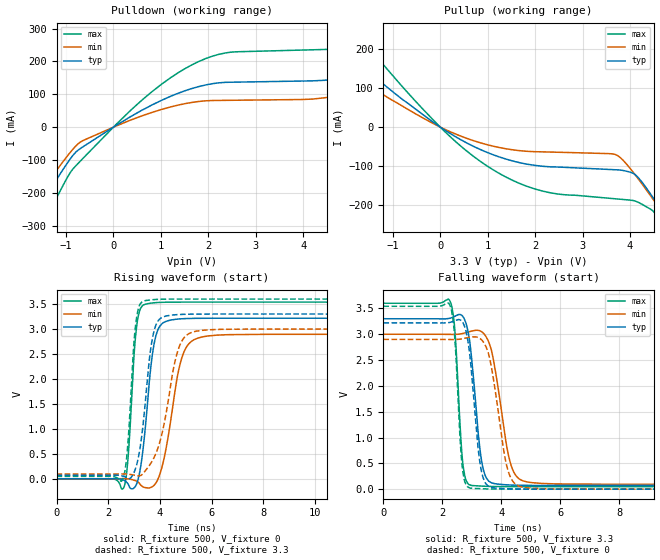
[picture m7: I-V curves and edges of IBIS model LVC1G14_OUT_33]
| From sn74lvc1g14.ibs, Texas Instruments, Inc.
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[Model]   LVC1G14_OUT_33
Model_type  Output
Vref =   0
Rref =   500
Cref =   50p
Vmeas =   1.5
| variable   typ   min   max
C_comp   9.52pF   5.86pF   13.14pF
| C_pullup   9.85pF   5.86pF   11.96pF
| C_pulldown   9.19pF   6.46pF   13.14pF
[Temperature Range]   40   100   -40
| Ambient temperature   25   85   -40
[Voltage range]   3.3   3   3.6
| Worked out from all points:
|   slope of the pulldown table from 0 to 0.495 V, typ, clamps not added: 11.5 ohm
|   slope of the pullup table from 0 to 0.495 V, typ, clamps not added: 13.6 ohm
|   rising waveform, R_fixture 500, V_fixture 0: 20-80 % time 374ps typ, 562ps min, 247ps max; typ from 0 V to 3.22 V
|   falling waveform, R_fixture 500, V_fixture 3.3: 20-80 % time 318ps typ, 477ps min, 206ps max; typ from 3.3 V to 0.07 V
|   rising waveform, R_fixture 500, V_fixture 3.3: 20-80 % time 399ps typ, 654ps min, 255ps max; typ from 0.07 V to 3.3 V
|   falling waveform, R_fixture 500, V_fixture 0: 20-80 % time 309ps typ, 458ps min, 200ps max; typ from 3.22 V to 0 V
[Pulldown]
| LVC1G14_OUT_33
|   Voltage   I(typ)   I(min)   I(max)
-5.5V     -1.107A    -970.8mA   -1.353A
-2.055V   -353.2mA   -300.4mA   -454.5mA
-1.49V    -224.6mA   -188.2mA   -296.4mA
-740mV    -69.5mA    -50.1mA    -109.7mA
365mV     32.28mA    21.63mA    51.56mA
2.22V     134.9mA    81.36mA    221.6mA
4.92V     153.7mA    101.9mA    243.5mA
6.98V     278.6mA    201.4mA    397.7mA
7.35V     308.4mA    129.2mA    438.3mA
7.84V     330.1mA    92.32mA    495.6mA
8.75V     170.7mA    93.06mA    502mA
11V       160mA      96.27mA    278.2mA
[Pullup]
| LVC1G14_OUT_33
|   Voltage   I(typ)   I(min)   I(max)
-5.5V     609.5mA    479.2mA    854.2mA
-3.49V    364.8mA    283mA      516.7mA
-2.685V   271.1mA    208.6mA    386.5mA
-1.96V    190.3mA    144.9mA    273.3mA
-55mV     4.572mA    3.33mA     6.783mA
1.095V    -70.05mA   -48.34mA   -108.1mA
2.155V    -100.5mA   -63.45mA   -164.1mA
3.69V     -109.4mA   -70.27mA   -184mA
4.135V    -124.9mA   -126.7mA   -191mA
4.79V     -237.5mA   -238.3mA   -272mA
5V        -277.7mA   -275.7mA   -316.9mA
11V       -1.518A    -1.406A    -1.753A
[Ramp]
| LVC1G14_OUT_33
| variable   typ   min   max
dV/dt_r   2.05/4.08E-10   1.85/6.05E-10   2.25/2.70E-10
dV/dt_f   1.99/3.36E-10   1.79/4.96E-10   2.18/2.19E-10
R_load = 500
[Rising Waveform]
| LVC1G14_OUT_33
R_fixture =   500
C_fixture =   0
L_fixture =   0
V_fixture =   0
V_fixture_min = 0
V_fixture_max = 0
|   Time   V(typ)   V(min)   V(max)
0s        144.1pV    5.487nV    2.182nV
2.6ns     -27.33mV   2.939mV    -177.8mV
2.765ns   -102.9mV   -1.796mV   408mV
3.125ns   -64.65mV   -55.19mV   3.147V
3.345ns   583.3mV    -160.9mV   3.476V
3.65ns    2.244V     -172.3mV   3.518V
4.005ns   3.062V     102.2mV    3.533V
4.9ns     3.207V     2.501V     3.539V
5.87ns    3.216V     2.862V     3.539V
50ns      3.216V     2.894V     3.539V
[Falling Waveform]
| LVC1G14_OUT_33
R_fixture =   500
C_fixture =   0
L_fixture =   0
V_fixture =   3.3
V_fixture_min = 3
V_fixture_max = 3.6
|   Time   V(typ)   V(min)   V(max)
0s        3.3V       3V         3.6V
2.26ns    3.311V     2.997V     3.64V
2.42ns    3.347V     2.997V     3.1V
2.7ns     3.341V     3.016V     470.7mV
2.995ns   2.517V     3.061V     70.86mV
3.27ns    798.7mV    3.067V     61.7mV
3.475ns   236mV      2.959V     55.88mV
4.325ns   80.42mV    472.6mV    49.21mV
5.035ns   72.64mV    126.2mV    48.6mV
50ns      70.49mV    94.55mV    48.41mV
[Rising Waveform]
| LVC1G14_OUT_33
R_fixture =   500
C_fixture =   0
L_fixture =   0
V_fixture =   3.3
V_fixture_min = 3
V_fixture_max = 3.6
|   Time   V(typ)   V(min)   V(max)
0s        70.47mV    94.51mV    48.4mV
2.54ns    57.53mV    96.95mV    -30.69mV
2.735ns   14.99mV    94.3mV     545mV
2.975ns   101.2mV    76.3mV     2.582V
3.1ns     278.3mV    64.47mV    3.232V
3.535ns   2.096V     227.4mV    3.576V
3.95ns    3.178V     656.2mV    3.595V
4.735ns   3.29V      2.628V     3.6V
5.595ns   3.299V     2.971V     3.6V
50ns      3.3V       3V         3.6V
[Falling Waveform]
| LVC1G14_OUT_33
R_fixture =   500
C_fixture =   0
L_fixture =   0
V_fixture =   0
V_fixture_min = 0
V_fixture_max = 0
|   Time   V(typ)   V(min)   V(max)
0s        3.22V      2.9V       3.542V
2.245ns   3.229V     2.898V     3.573V
2.41ns    3.259V     2.898V     3.009V
2.675ns   3.242V     2.913V     430.3mV
2.95ns    2.494V     2.943V     19.7mV
3.225ns   728.7mV    2.934V     11.14mV
3.43ns    153.4mV    2.813V     6.486mV
4.215ns   8.458mV    383.2mV    828.2uV
4.84ns    2.068mV    27.15mV    235.7uV
50ns      19.32uV    29.52uV    10.23uV
